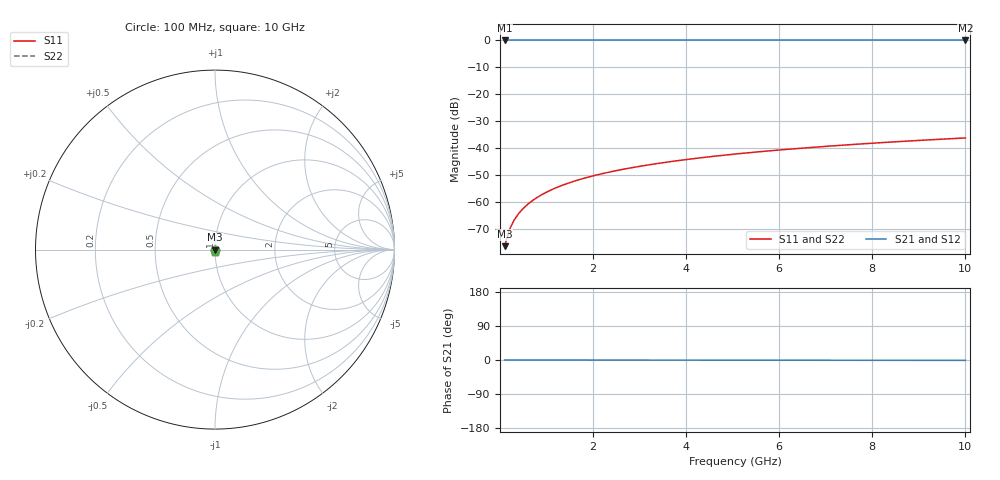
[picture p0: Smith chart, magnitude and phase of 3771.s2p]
# Hz S RI R 50.00
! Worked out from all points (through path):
!   100 points, 100 MHz to 10 GHz, reference 50 ohm
!   highest |S21| = 0.00 dB at 100 MHz (marker M1); lowest = 0.0 dB at 10 GHz (marker M2)
!   lowest |S11| = -76.2 dB at 100 MHz (marker M3), VSWR 1.00, Z = 50 - j0.0155 ohm
!   |S11| at or under -10 dB: start of sweep to end of sweep
!   |S22| runs from -76.2 to -36.1 dB; largest |S21 - S12| = 0
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1e8  6.41e-07 -0.000155  1 -0.000165  1 -0.000165  6.41e-07 -0.000155
2e8  4.16e-07 -0.00031  1 -0.00033  1 -0.00033  4.16e-07 -0.00031
3e8  1.37e-07 -0.000465  1 -0.000494  1 -0.000494  1.37e-07 -0.000465
4e8  -1.94e-07 -0.00062  1 -0.000659  1 -0.000659  -1.94e-07 -0.00062
5e8  -5.76e-07 -0.000775  1 -0.000824  1 -0.000824  -5.76e-07 -0.000775
6e8  -1.01e-06 -0.00093  1 -0.000989  1 -0.000989  -1.01e-06 -0.00093
7e8  -1.5e-06 -0.00109  1 -0.00115  1 -0.00115  -1.5e-06 -0.00109
8e8  -2.03e-06 -0.00124  1 -0.00132  1 -0.00132  -2.03e-06 -0.00124
9e8  -2.62e-06 -0.0014  1 -0.00148  1 -0.00148  -2.62e-06 -0.0014
1.1e9  -3.96e-06 -0.00171  1 -0.00181  1 -0.00181  -3.96e-06 -0.00171
1.4e9  -6.34e-06 -0.00217  1 -0.00231  1 -0.00231  -6.34e-06 -0.00217
1.8e9  -1.02e-05 -0.00279  1 -0.00297  1 -0.00297  -1.02e-05 -0.00279
2.1e9  -1.37e-05 -0.00326  1 -0.00347  1 -0.00347  -1.37e-05 -0.00326
2.5e9  -1.91e-05 -0.00388  1 -0.00413  1 -0.00413  -1.91e-05 -0.00388
2.9e9  -2.52e-05 -0.00451  1 -0.00479  1 -0.00479  -2.52e-05 -0.00451
3.4e9  -3.42e-05 -0.00529  1 -0.00562  1 -0.00562  -3.42e-05 -0.00529
4.2e9  -5.11e-05 -0.00654  0.9999 -0.00695  0.9999 -0.00695  -5.11e-05 -0.00654
5.1e9  -7.42e-05 -0.00794  0.9999 -0.00845  0.9999 -0.00845  -7.42e-05 -0.00794
5.9e9  -9.84e-05 -0.0092  0.9999 -0.00978  0.9999 -0.00978  -9.84e-05 -0.0092
6.7e9  -0.000126 -0.0105  0.9999 -0.0111  0.9999 -0.0111  -0.000126 -0.0105
8.4e9  -0.000196 -0.0131  0.9998 -0.014  0.9998 -0.014  -0.000196 -0.0131
1e10  -0.000275 -0.0157  0.9997 -0.0166  0.9997 -0.0166  -0.000275 -0.0157
